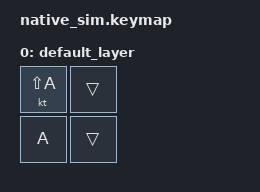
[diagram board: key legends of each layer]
#include <dt-bindings/zmk/keys.h>
#include <behaviors.dtsi>
#include <dt-bindings/zmk/kscan_mock.h>

&kscan {
    events = <
              /* Toggle LS(A) on */
              ZMK_MOCK_PRESS(0,0,10)
              ZMK_MOCK_RELEASE(0,0,10)
              /* Toggle LS(A) off */
              ZMK_MOCK_PRESS(0,0,10)
              ZMK_MOCK_RELEASE(0,0,10)
              /* Press A */
              ZMK_MOCK_PRESS(1,0,10)
              /* Toggle LS(A) on */
              ZMK_MOCK_PRESS(0,0,10)
              ZMK_MOCK_RELEASE(0,0,10)
              /* Toggle LS(A) off */
              ZMK_MOCK_PRESS(0,0,10)
              ZMK_MOCK_RELEASE(0,0,10)
              /* Release A */
              ZMK_MOCK_RELEASE(1,0,10)>;
};

/ {
    keymap {
        compatible = "zmk,keymap";

        default_layer {
            bindings = <&kt LS(A) &trans
                        &kp A &trans>;
        };
    };
};
